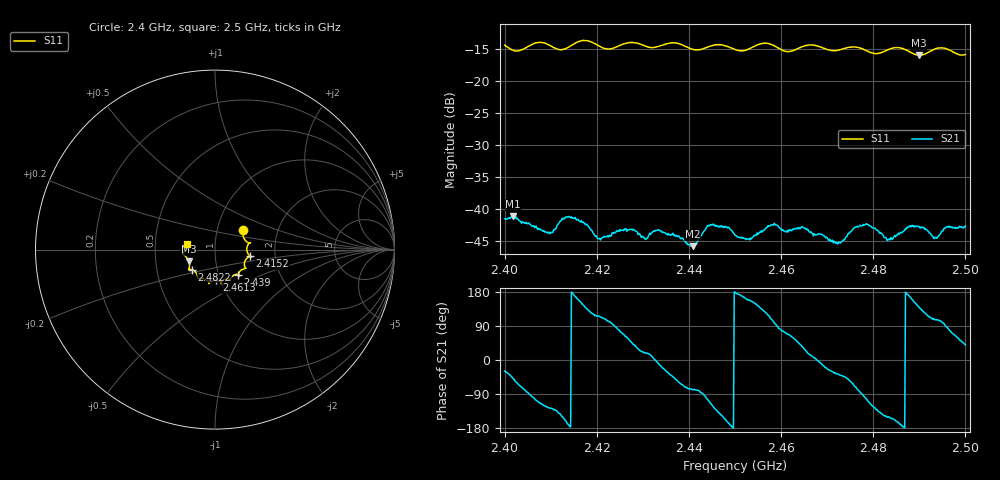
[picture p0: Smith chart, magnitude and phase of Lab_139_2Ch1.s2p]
# Hz S RI R 50
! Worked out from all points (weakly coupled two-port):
!   601 points, 2.4 GHz to 2.5 GHz, reference 50 ohm
!   highest |S21| = -41.20 dB at 2.4018 GHz (marker M1); lowest = -45.9 dB at 2.4408 GHz (marker M2)
!   lowest |S11| = -15.9 dB at 2.4898 GHz (marker M3), VSWR 1.38, Z = 37 - j5.03 ohm
!   |S11| at or under -10 dB: start of sweep to end of sweep
!   S12 and S22 are empty: the file has one direction only
!   S11 on the Smith chart (normalised r, x): 2.4 GHz: 1.33, +0.31; 2.4152 GHz: 1.48, -0.11; 2.439 GHz: 1.24, -0.36; 2.4613 GHz: 0.96, -0.34; 2.4822 GHz: 0.76, -0.17; 2.5 GHz: 0.72, +0.05
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2.4e9  0.1564 0.1112  0.00728 -0.0041  0 0  0 0
2.401833e9  0.155 0.0809  0.00567 -0.0066  0 0  0 0
2.409833e9  0.1881 0.0331  -0.00385 -0.00506  0 0  0 0
2.415167e9  0.1942 -0.0361  -0.00827 0.00153  0 0  0 0
2.416667e9  0.2038 -0.0416  -0.00703 0.00396  0 0  0 0
2.420667e9  0.1823 -0.0451  -0.0024 0.0053  0 0  0 0
2.433333e9  0.133 -0.1321  0.00679 -0.00107  0 0  0 0
2.439e9  0.1287 -0.1393  0.0019 -0.00532  0 0  0 0
2.440833e9  0.1111 -0.139  0.000994 -0.00498  0 0  0 0
2.444833e9  0.0845 -0.17  -0.0033 -0.00675  0 0  0 0
2.45e9  0.0686 -0.1638  -0.00619 8.26e-05  0 0  0 0
2.453167e9  0.0376 -0.1765  -0.00525 0.00222  0 0  0 0
2.458333e9  0.0376 -0.1878  -0.00151 0.00727  0 0  0 0
2.461333e9  0.00737 -0.1709  0.00254 0.00626  0 0  0 0
2.466667e9  -0.0337 -0.1899  0.00634 0.00113  0 0  0 0
2.472667e9  -0.0736 -0.1601  0.00426 -0.00337  0 0  0 0
2.478333e9  -0.0979 -0.1453  -0.00139 -0.0074  0 0  0 0
2.482167e9  -0.128 -0.1117  -0.00508 -0.0035  0 0  0 0
2.483333e9  -0.1392 -0.1102  -0.00494 -0.00286  0 0  0 0
2.489833e9  -0.1455 -0.0662  -0.00565 0.00459  0 0  0 0
2.4935e9  -0.1782 -0.0258  -0.00164 0.00567  0 0  0 0
2.5e9  -0.1586 0.033  0.00563 0.00468  0 0  0 0
